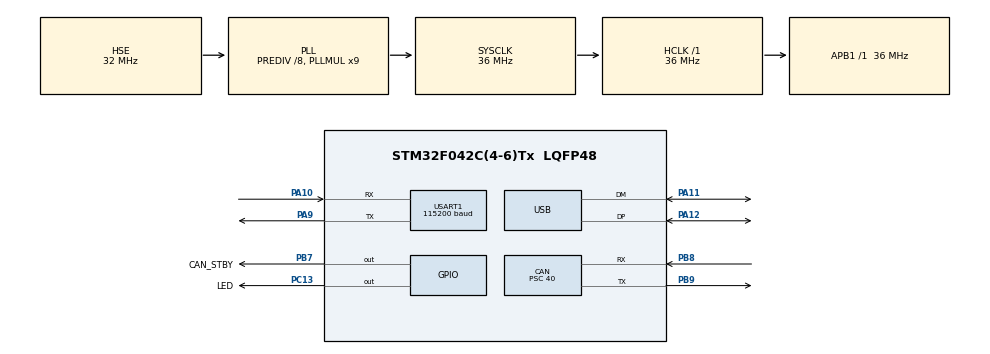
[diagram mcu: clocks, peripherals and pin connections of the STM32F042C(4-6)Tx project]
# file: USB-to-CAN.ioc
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CAN.BS1=CAN_BS1_12TQ
CAN.BS2=CAN_BS2_5TQ
CAN.CalculateTimeQuantum=1111.111111111111
CAN.Prescaler=40
IWDG.Prescaler=IWDG_PRESCALER_64
IWDG.Reload=1250
Mcu.Family=STM32F0
Mcu.Name=STM32F042C(4-6)Tx
Mcu.Package=LQFP48
NVIC.CEC_CAN_IRQn=true\:1\:0\:true\:false\:true\:true
NVIC.USB_IRQn=true\:1\:0\:true\:false\:true\:false
PA10.Mode=Asynchronous
PA10.Signal=USART1_RX
PA11.Mode=Device
PA11.Signal=USB_DM
PA12.Mode=Device
PA12.Signal=USB_DP
PA13.Mode=Serial_Wire
PA13.Signal=SYS_SWDIO
PA14.Mode=Serial_Wire
PA14.Signal=SYS_SWCLK
PA9.Mode=Asynchronous
PA9.Signal=USART1_TX
PB7.GPIO_Label=CAN_STBY
PB7.Signal=GPIO_Output
PB8.GPIO_Speed=GPIO_SPEED_FREQ_MEDIUM
PB8.Mode=Master
PB8.Signal=CAN_RX
PB9.GPIO_Speed=GPIO_SPEED_FREQ_MEDIUM
PB9.Mode=Master
PB9.Signal=CAN_TX
PC13.GPIO_Label=LED
PC13.PinState=GPIO_PIN_SET
PC13.Signal=GPIO_Output
PF0-OSC_IN.Mode=HSE-External-Oscillator
PF0-OSC_IN.Signal=RCC_OSC_IN
PF1-OSC_OUT.Mode=HSE-External-Oscillator
PF1-OSC_OUT.Signal=RCC_OSC_OUT
ProjectManager.HeapSize=0x200
ProjectManager.StackSize=0x400
ProjectManager.TargetToolchain=MDK-ARM V5
RCC.AHBFreq_Value=36000000
RCC.APB1Freq_Value=36000000
RCC.APB1TimFreq_Value=36000000
RCC.HCLKFreq_Value=36000000
RCC.HSE_VALUE=32000000
RCC.PLLDivider=RCC_PREDIV_DIV8
RCC.PLLMUL=RCC_PLL_MUL9
RCC.PLLSourceVirtual=RCC_PLLSOURCE_HSE
RCC.SYSCLKFreq_VALUE=36000000
RCC.SYSCLKSource=RCC_SYSCLKSOURCE_PLLCLK
USART1.BaudRate=115200
USART1.VirtualMode-Asynchronous=VM_ASYNC
USB.ep0_mps=DEP0CTL_MPS_8
USB_DEVICE.CLASS_NAME_FS=CDC
USB_DEVICE.VirtualMode=Cdc
USB_DEVICE.VirtualModeFS=Cdc_FS
VP_IWDG_VS_IWDG.Mode=IWDG_Activate
VP_USB_DEVICE_VS_USB_DEVICE_CDC_FS.Mode=CDC_FS
board=custom

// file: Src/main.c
/* USER CODE BEGIN Header */
/**
  ******************************************************************************
  * @file           : main.c
  * @brief          : Main program body
  ******************************************************************************
  ** This notice applies to any and all portions of this file
  * that are not between comment pairs USER CODE BEGIN and
  * USER CODE END. Other portions of this file, whether
  * inserted by the user or by software development tools
  * are owned by their respective copyright owners.
  *
  * COPYRIGHT(c) 2019 STMicroelectronics
  *
  * Redistribution and use in source and binary forms, with or without modification,
  * are permitted provided that the following conditions are met:
  *   1. Redistributions of source code must retain the above copyright notice,
  *      this list of conditions and the following disclaimer.
  *   2. Redistributions in binary form must reproduce the above copyright notice,
  *      this list of conditions and the following disclaimer in the documentation
  *      and/or other materials provided with the distribution.
  *   3. Neither the name of STMicroelectronics nor the names of its contributors
  *      may be used to endorse or promote products derived from this software
  *      without specific prior written permission.
  *
  * THIS SOFTWARE IS PROVIDED BY THE COPYRIGHT HOLDERS AND CONTRIBUTORS "AS IS"
  * AND ANY EXPRESS OR IMPLIED WARRANTIES, INCLUDING, BUT NOT LIMITED TO, THE
  * IMPLIED WARRANTIES OF MERCHANTABILITY AND FITNESS FOR A PARTICULAR PURPOSE ARE
  * DISCLAIMED. IN NO EVENT SHALL THE COPYRIGHT HOLDER OR CONTRIBUTORS BE LIABLE
  * FOR ANY DIRECT, INDIRECT, INCIDENTAL, SPECIAL, EXEMPLARY, OR CONSEQUENTIAL
  * DAMAGES (INCLUDING, BUT NOT LIMITED TO, PROCUREMENT OF SUBSTITUTE GOODS OR
  * SERVICES; LOSS OF USE, DATA, OR PROFITS; OR BUSINESS INTERRUPTION) HOWEVER
  * CAUSED AND ON ANY THEORY OF LIABILITY, WHETHER IN CONTRACT, STRICT LIABILITY,
  * OR TORT (INCLUDING NEGLIGENCE OR OTHERWISE) ARISING IN ANY WAY OUT OF THE USE
  * OF THIS SOFTWARE, EVEN IF ADVISED OF THE POSSIBILITY OF SUCH DAMAGE.
  *
  ******************************************************************************
  */
/* USER CODE END Header */

#include "main.h"
#include "usb_device.h"

/* USER CODE BEGIN Includes */
#include "usbd_cdc_if.h"
#include "stdbool.h"
#include "stdio.h"
#include "queue.h"

/* USER CODE END Includes */

/* USER CODE BEGIN PD */
#define CAN_BAUDRATE_BS1 				CAN_BS1_12TQ	// Using for set-up CAN baudrate
#define CAN_BAUDRATE_BS2 				CAN_BS2_5TQ		// Using for set-up CAN baudrate
#define RETRY_TIME		 					50						// Retry time if transmit not success

/* USER CODE END PD */

CAN_HandleTypeDef hcan;

IWDG_HandleTypeDef hiwdg;

UART_HandleTypeDef huart1;

/* USER CODE BEGIN PV */
CanTxMsgTypeDef TxMsg;
CanRxMsgTypeDef RxMsg;
CAN_FilterConfTypeDef sFilterConfig;

Queue queue;																	// Queue for USB data and CAN data
uint16_t msgId;																// CAN message ID
bool filterIdMode;														// True: enable filter ID mode, false: disable filter ID mode
uint16_t filterId;														// In filter ID mode, CAN only receive message ID equal filterId
uint8_t timeout;															// Timeout for each CAN transmit data
uint8_t baudrate;															// CAN baudrate
uint8_t version	= 25;													// Version of code

/* USER CODE END PV */

void SystemClock_Config(void);
static void MX_GPIO_Init(void);
static void MX_CAN_Init(void);
static void MX_IWDG_Init(void);
static void MX_USART1_UART_Init(void);

bool validateCommand(Message msg);
/* USER CODE BEGIN PFP */
#ifdef __GNUC__
 /* With GCC/RAISONANCE, small printf (option LD Linker->Libraries->Small printf
 set to 'Yes') calls __io_putchar() */
 #define PUTCHAR_PROTOTYPE int __io_putchar(int ch)
#else
 #define PUTCHAR_PROTOTYPE int fputc(int ch, FILE *f)
#endif /* __GNUC__ */

/**
 * @brief Retargets the C library printf function to the USART.
 * @param None
 * @retval None
 */
PUTCHAR_PROTOTYPE
{
 /* Place your implementation of fputc here */
 /* e.g. write a character to the USART */
 HAL_UART_Transmit(&huart1, (uint8_t *)&ch, 1, 100);

 return ch;
}

/* CAN receive interrupt */
void HAL_CAN_RxCpltCallback(CAN_HandleTypeDef* hcan)
{
	/* Assign CAN message to queue */
	Message msg;
	msg.type = CAN_MESSAGE;
	msg.length = hcan->pRxMsg->DLC;
	memcpy(msg.data, hcan->pRxMsg->Data, msg.length);
	Queue_Push(&queue, &msg);
}

/**
  * @brief CAN Configure Function
  * @param None
  * @retval None
  */

void CAN_Config(void)
{
	/* CAN filter config */
	if(filterIdMode)
	{
		sFilterConfig.FilterNumber=0;
		sFilterConfig.FilterMode=CAN_FILTERMODE_IDLIST;
		sFilterConfig.FilterScale=CAN_FILTERSCALE_16BIT;
		sFilterConfig.FilterIdHigh=filterId<<5;
		sFilterConfig.FilterIdLow=0x0000<<5;
		sFilterConfig.FilterMaskIdHigh=0x0000<<5;
		sFilterConfig.FilterMaskIdLow=0x0000<<5;
		sFilterConfig.FilterFIFOAssignment=0;
		sFilterConfig.FilterActivation=ENABLE;
		sFilterConfig.BankNumber=0;
		HAL_CAN_ConfigFilter(&hcan, &sFilterConfig);
	}
	else
	{
		sFilterConfig.FilterNumber=0;
		sFilterConfig.FilterMode=CAN_FILTERMODE_IDMASK;
		sFilterConfig.FilterScale=CAN_FILTERSCALE_32BIT;
		sFilterConfig.FilterIdHigh=0;
		sFilterConfig.FilterIdLow=0;
		sFilterConfig.FilterMaskIdHigh=0;
		sFilterConfig.FilterMaskIdLow=0;
		sFilterConfig.FilterFIFOAssignment=0;
		sFilterConfig.FilterActivation=ENABLE;
		sFilterConfig.BankNumber=0;
		HAL_CAN_ConfigFilter(&hcan, &sFilterConfig);
	}

	/* CAN message config */
	hcan.pTxMsg = &TxMsg;
	hcan.pRxMsg = &RxMsg;
	hcan.pTxMsg->RTR = CAN_RTR_DATA;
	hcan.pTxMsg->IDE = CAN_ID_STD;
	hcan.pTxMsg->StdId = msgId;
}

/**
  * @brief Validate Command Function
  * @param
  * @retval
  */

bool validateCommand(Message msg)
{
	if(Crc8_Calc(msg.data,msg.length - 1) != msg.data[msg.length - 1])
	{
		return false;
	}
	else
	{
		uint8_t result[5];
		switch(msg.data[0])
		{
			case GET_VERSION:
				result[0] = GET_VERSION;
				result[1] = 0x01;
				result[2] = version;
				result[3] = Crc8_Calc(result,3);
				CDC_Transmit_FS(result, 4);
				break;
			case GET_ID:
				result[0] = GET_ID;
				result[1] = 0x02;
				result[2] = (msgId & 0xFF00) >> 8;
				result[3] = msgId & 0x00FF;
				result[4] = Crc8_Calc(result,4);
				CDC_Transmit_FS(result, 5);
				break;
			case SET_ID:
				msgId = ((uint16_t)msg.data[2] << 8) | (uint16_t)msg.data[3];
				CAN_Config();
				result[0] = SET_ID;
				result[1] = 0x00;
				result[2] = Crc8_Calc(result,2);
				CDC_Transmit_FS(result, 3);
				break;
			case GET_FILTER_ID:
				result[0] = GET_FILTER_ID;
				result[1] = 0x02;
				if(filterIdMode)
				{
					result[2] = (filterId & 0xFF00) >> 8;
					result[3] = filterId & 0x00FF;
				}
				else
				{
					result[2] = 0xFF;
					result[3] = 0xFF;
				}
				result[4] = Crc8_Calc(result,4);
				CDC_Transmit_FS(result, 5);
				break;
			case SET_FILTER_ID:
				if(msg.data[2] <= 0x07)
				{
					filterIdMode = true;
					filterId = ((uint16_t)msg.data[2] << 8) | (uint16_t)msg.data[3];
				}
				else
				{
					filterIdMode = false;
					filterId = 0x0000;
				}
				CAN_Config();
				result[0] = SET_FILTER_ID;
				result[1] = 0x00;
				result[2] = Crc8_Calc(result,2);
				CDC_Transmit_FS(result, 3);
				break;
			case GET_TIMEOUT:
				result[0] = GET_TIMEOUT;
				result[1] = 0x01;
				result[2] = timeout;
				result[3] = Crc8_Calc(result,3);
				CDC_Transmit_FS(result, 4);
				break;
			case SET_TIMEOUT:
				timeout = msg.data[2];
				result[0] = SET_TIMEOUT;
				result[1] = 0x00;
				result[2] = Crc8_Calc(result,2);
				CDC_Transmit_FS(result, 3);
				break;
			case GET_BAUDRATE:
				result[0] = GET_BAUDRATE;
				result[1] = 0x01;
				result[2] = baudrate;
				result[3] = Crc8_Calc(result,3);
				CDC_Transmit_FS(result, 4);
				break;
			case SET_BAUDRATE:
				baudrate = msg.data[2];
				MX_CAN_Init();
				result[0] = SET_BAUDRATE;
				result[1] = 0x00;
				result[2] = Crc8_Calc(result,2);
				CDC_Transmit_FS(result, 3);
				break;
			default:
				return false;
		}
		Write_Flash(msgId,filterId,filterIdMode,timeout,baudrate);
		return true;
	}
}

/* USER CODE END PFP */

int main(void)
{
  /* USER CODE BEGIN 1 */
	Message  msg;
  /* USER CODE END 1 */

  /* MCU Configuration--------------------------------------------------------*/

  /* Reset of all peripherals, Initializes the Flash interface and the Systick. */
  HAL_Init();

  /* USER CODE BEGIN Init */
	Read_Flash(&msgId,&filterId,&filterIdMode,&timeout,&baudrate);
  /* USER CODE END Init */

  /* Configure the system clock */
  SystemClock_Config();

  /* Initialize all configured peripherals */
  MX_GPIO_Init();
  MX_CAN_Init();
  MX_USB_DEVICE_Init();
  MX_IWDG_Init();
  MX_USART1_UART_Init();
  /* USER CODE BEGIN 2 */
	CAN_Config();
	/* CAN receive interrupt config */
	HAL_CAN_Receive_IT(&hcan, CAN_FIFO0);
  /* USER CODE END 2 */

  /* Infinite loop */
	while (1)
	{

    /* USER CODE BEGIN 3 */
		if(Queue_Pop(&queue, &msg))																								// check message in queue
		{
			if(msg.type == USB_MESSAGE)																							// check type of message
			{
				if(!validateCommand(msg))																							// validate command from USB
				{
					hcan.pTxMsg->DLC = msg.length;																			// assign length and data from USB to CAN
					for(int i = 0; i < msg.length; i++)
					{
						hcan.pTxMsg->Data[i] = msg.data[i];
					}

					HAL_StatusTypeDef canStatus;
					uint8_t time = 0;
					do																																	// check can send status
					{
						canStatus = HAL_CAN_Transmit(&hcan, timeout);											// transmit data by CAN
						time++;
					}while((time<RETRY_TIME) && (canStatus!=HAL_OK));										// retry if CAN send status not success
				}
			}
			else
			{
				uint8_t usbStatus = USBD_BUSY;
				uint8_t time = 0;
				do																																		// check usb send status
				{
					usbStatus = CDC_Transmit_FS((uint8_t *)msg.data, msg.length);				// transmit data by USB
					time++;
				}while((time<RETRY_TIME) && (usbStatus!=USBD_OK));										// retry if USB send status not success
			}
		}

		/* Reset watchdog timer */
		HAL_IWDG_Refresh(&hiwdg);
	}
  /* USER CODE END 3 */
}

void SystemClock_Config(void)
{
  RCC_OscInitTypeDef RCC_OscInitStruct = {0};
  RCC_ClkInitTypeDef RCC_ClkInitStruct = {0};
  RCC_PeriphCLKInitTypeDef PeriphClkInit = {0};

  /**Initializes the CPU, AHB and APB busses clocks
  */
  RCC_OscInitStruct.OscillatorType = RCC_OSCILLATORTYPE_HSI48|RCC_OSCILLATORTYPE_LSI
                              |RCC_OSCILLATORTYPE_HSE;
  RCC_OscInitStruct.HSEState = RCC_HSE_ON;
  RCC_OscInitStruct.HSI48State = RCC_HSI48_ON;
  RCC_OscInitStruct.LSIState = RCC_LSI_ON;
  RCC_OscInitStruct.PLL.PLLState = RCC_PLL_ON;
  RCC_OscInitStruct.PLL.PLLSource = RCC_PLLSOURCE_HSE;
  RCC_OscInitStruct.PLL.PLLMUL = RCC_PLL_MUL9;
  RCC_OscInitStruct.PLL.PREDIV = RCC_PREDIV_DIV8;
  if (HAL_RCC_OscConfig(&RCC_OscInitStruct) != HAL_OK)
  {
    Error_Handler();
  }
  /**Initializes the CPU, AHB and APB busses clocks
  */
  RCC_ClkInitStruct.ClockType = RCC_CLOCKTYPE_HCLK|RCC_CLOCKTYPE_SYSCLK
                              |RCC_CLOCKTYPE_PCLK1;
  RCC_ClkInitStruct.SYSCLKSource = RCC_SYSCLKSOURCE_PLLCLK;
  RCC_ClkInitStruct.AHBCLKDivider = RCC_SYSCLK_DIV1;
  RCC_ClkInitStruct.APB1CLKDivider = RCC_HCLK_DIV1;

  if (HAL_RCC_ClockConfig(&RCC_ClkInitStruct, FLASH_LATENCY_1) != HAL_OK)
  {
    Error_Handler();
  }
  PeriphClkInit.PeriphClockSelection = RCC_PERIPHCLK_USB|RCC_PERIPHCLK_USART1;
  PeriphClkInit.Usart1ClockSelection = RCC_USART1CLKSOURCE_PCLK1;
  PeriphClkInit.UsbClockSelection = RCC_USBCLKSOURCE_HSI48;

  if (HAL_RCCEx_PeriphCLKConfig(&PeriphClkInit) != HAL_OK)
  {
    Error_Handler();
  }
}

static void MX_CAN_Init(void)
{

  hcan.Instance = CAN;
	hcan.Init.Prescaler = baudrate;
  hcan.Init.Mode = CAN_MODE_NORMAL;
  hcan.Init.SJW = CAN_SJW_1TQ;
  hcan.Init.BS1 = CAN_BAUDRATE_BS1;
  hcan.Init.BS2 = CAN_BAUDRATE_BS2;
  hcan.Init.TTCM = DISABLE;
  hcan.Init.ABOM = DISABLE;
  hcan.Init.AWUM = DISABLE;
  hcan.Init.NART = DISABLE;
  hcan.Init.RFLM = DISABLE;
  hcan.Init.TXFP = ENABLE;
  if (HAL_CAN_Init(&hcan) != HAL_OK)
  {
    Error_Handler();
  }

}

static void MX_IWDG_Init(void)
{

  hiwdg.Instance = IWDG;
  hiwdg.Init.Prescaler = IWDG_PRESCALER_64;
  hiwdg.Init.Window = 4095;
  hiwdg.Init.Reload = 1250;
  if (HAL_IWDG_Init(&hiwdg) != HAL_OK)
  {
    Error_Handler();
  }

}

static void MX_USART1_UART_Init(void)
{

  huart1.Instance = USART1;
  huart1.Init.BaudRate = 115200;
  huart1.Init.WordLength = UART_WORDLENGTH_8B;
  huart1.Init.StopBits = UART_STOPBITS_1;
  huart1.Init.Parity = UART_PARITY_NONE;
  huart1.Init.Mode = UART_MODE_TX_RX;
  huart1.Init.HwFlowCtl = UART_HWCONTROL_NONE;
  huart1.Init.OverSampling = UART_OVERSAMPLING_16;
  huart1.Init.OneBitSampling = UART_ONE_BIT_SAMPLE_DISABLE;
  huart1.AdvancedInit.AdvFeatureInit = UART_ADVFEATURE_NO_INIT;
  if (HAL_UART_Init(&huart1) != HAL_OK)
  {
    Error_Handler();
  }

}

static void MX_GPIO_Init(void)
{
  GPIO_InitTypeDef GPIO_InitStruct = {0};

  /* GPIO Ports Clock Enable */
  __HAL_RCC_GPIOC_CLK_ENABLE();
  __HAL_RCC_GPIOF_CLK_ENABLE();
  __HAL_RCC_GPIOA_CLK_ENABLE();
  __HAL_RCC_GPIOB_CLK_ENABLE();

  /*Configure GPIO pin Output Level */
  HAL_GPIO_WritePin(LED_GPIO_Port, LED_Pin, GPIO_PIN_SET);

  /*Configure GPIO pin Output Level */
  HAL_GPIO_WritePin(CAN_STBY_GPIO_Port, CAN_STBY_Pin, GPIO_PIN_RESET);

  /*Configure GPIO pin : LED_Pin */
  GPIO_InitStruct.Pin = LED_Pin;
  GPIO_InitStruct.Mode = GPIO_MODE_OUTPUT_PP;
  GPIO_InitStruct.Pull = GPIO_NOPULL;
  GPIO_InitStruct.Speed = GPIO_SPEED_FREQ_LOW;
  HAL_GPIO_Init(LED_GPIO_Port, &GPIO_InitStruct);

  /*Configure GPIO pin : CAN_STBY_Pin */
  GPIO_InitStruct.Pin = CAN_STBY_Pin;
  GPIO_InitStruct.Mode = GPIO_MODE_OUTPUT_PP;
  GPIO_InitStruct.Pull = GPIO_NOPULL;
  GPIO_InitStruct.Speed = GPIO_SPEED_FREQ_LOW;
  HAL_GPIO_Init(CAN_STBY_GPIO_Port, &GPIO_InitStruct);

}

void Error_Handler(void)
{
}

/************************ (C) COPYRIGHT STMicroelectronics *****END OF FILE****/
